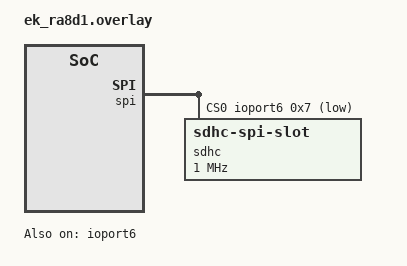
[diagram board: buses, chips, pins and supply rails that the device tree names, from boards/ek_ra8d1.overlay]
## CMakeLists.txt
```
# SPDX-License-Identifier: Apache-2.0

cmake_minimum_required(VERSION 3.28.0)
find_package(Zephyr REQUIRED HINTS $ENV{ZEPHYR_BASE})
project(sdhc_test)

file(GLOB app_sources src/*.c)
target_sources(app PRIVATE ${app_sources})
```

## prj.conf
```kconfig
CONFIG_TEST=y
CONFIG_ZTEST=y
CONFIG_SDHC=y
```

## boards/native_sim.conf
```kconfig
# Copyright (c) 2026 Alif Semiconductor
# SPDX-License-Identifier: Apache-2.0

CONFIG_SDHC_EMUL=y
```

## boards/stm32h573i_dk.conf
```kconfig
# Copyright (c) 2026 EXALT Technologies
# SPDX-License-Identifier: Apache-2.0

CONFIG_SDMMC_STM32=n
```

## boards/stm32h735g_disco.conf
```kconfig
# Copyright (c) 2026 EXALT Technologies
# SPDX-License-Identifier: Apache-2.0

CONFIG_SDMMC_STM32=n
CONFIG_HEAP_MEM_POOL_SIZE=2048
```

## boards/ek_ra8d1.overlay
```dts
/*
 * Copyright (c) 2025 Renesas Electronics Corporation
 * SPDX-License-Identifier: Apache-2.0
 */

/ {
	aliases {
		sdhc0 = &sdhc;
	};
};

&pinctrl {
	/* Set SW1-1 (PMOD1) to low and SW1-7 (SDRAM) to high */
	sci0_spi_default: sci0_spi_default {
		group1 {
			/* MISO MOSI SCK */
			psels = <RA_PSEL(RA_PSEL_SCI_0, 6, 10)>,
				<RA_PSEL(RA_PSEL_SCI_0, 6, 9)>,
				<RA_PSEL(RA_PSEL_SCI_0, 6, 11)>;
			drive-strength = "high";
		};
	};
};

&ioport6 {
	status = "okay";
};

&sci0 {
	pinctrl-0 = <&sci0_spi_default>;
	pinctrl-names = "default";

	spi {
		cs-gpios = <&ioport6 0x7 GPIO_ACTIVE_LOW>;
		status = "okay";

		sdhc: sdhc@0 {
			compatible = "zephyr,sdhc-spi-slot";
			reg = <0>;
			status = "okay";
			mmc {
				compatible = "zephyr,sdmmc-disk";
				disk-name = "SD";
				status = "okay";
			};
			spi-max-frequency = <1000000>;
		};
	};

	uart {
		status = "disabled";
	};

	i2c {
		status = "disabled";
	};
};
```

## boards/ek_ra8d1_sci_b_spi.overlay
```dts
/*
 * Copyright (c) 2025 Renesas Electronics Corporation
 * SPDX-License-Identifier: Apache-2.0
 */

/ {
	aliases {
		sdhc0 = &sdcard;
	};
};

&pinctrl {
	/* Set SW1-1 (PMOD1) to low and SW1-7 (SDRAM) to high */
	sci0_spi_default: sci0_spi_default {
		group1 {
			/* MISO MOSI SCK */
			psels = <RA_PSEL(RA_PSEL_SCI_0, 6, 10)>,
				<RA_PSEL(RA_PSEL_SCI_0, 6, 9)>,
				<RA_PSEL(RA_PSEL_SCI_0, 6, 11)>;
			drive-strength = "high";
		};
	};
};

&ioport6 {
	status = "okay";
};

&sci0 {
	pinctrl-0 = <&sci0_spi_default>;
	pinctrl-names = "default";

	spi {
		cs-gpios = <&ioport6 0x7 GPIO_ACTIVE_LOW>;
		status = "okay";

		sdcard: sdcard@0 {
			compatible = "zephyr,sdhc-spi-slot";
			reg = <0>;
			spi-max-frequency = <1000000>;
			status = "okay";

			sdmmc {
				compatible = "zephyr,sdmmc-disk";
				disk-name = "SD";
				status = "okay";
			};
		};
	};

	uart {
		status = "disabled";
	};

	i2c {
		status = "disabled";
	};
};
```

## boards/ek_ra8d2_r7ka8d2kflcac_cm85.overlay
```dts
/*
 * Copyright (c) 2025 Renesas Electronics Corporation
 * SPDX-License-Identifier: Apache-2.0
 */

/ {
	aliases {
		sdhc0 = &sdhc1;
	};
};

&pinctrl {
	sdhc1_default: sdhc1_default {
		group1 {
			psels = <RA_PSEL(RA_PSEL_SDHI, 4, 6)>, /* SDCD */
				<RA_PSEL(RA_PSEL_SDHI, 4, 1)>, /* SDCMD */
				<RA_PSEL(RA_PSEL_SDHI, 4, 2)>, /* SDDATA0 */
				<RA_PSEL(RA_PSEL_SDHI, 4, 3)>, /* SDDATA1 */
				<RA_PSEL(RA_PSEL_SDHI, 4, 4)>, /* SDDATA2 */
				<RA_PSEL(RA_PSEL_SDHI, 4, 5)>, /* SDDATA3 */
				<RA_PSEL(RA_PSEL_SDHI, 7, 0)>; /* SDWP */
			drive-strength = "high";
		};

		group2 {
			psels = <RA_PSEL(RA_PSEL_SDHI, 4, 0)>; /* SDCLK */
			drive-strength = "highspeed-high";
		};
	};
};

&sdhc1 {
	pinctrl-0 = <&sdhc1_default>;
	pinctrl-names = "default";
	interrupt-names = "accs", "card", "dma-req";
	interrupts = <95 1>, <94 1>, <93 1>;
	status = "okay";

	sdmmc {
		compatible = "zephyr,sdmmc-disk";
		disk-name = "SD";
		status = "okay";
	};
};
```

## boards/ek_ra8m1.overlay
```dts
/*
 * Copyright (c) 2025 Renesas Electronics Corporation
 * SPDX-License-Identifier: Apache-2.0
 */

/ {
	aliases {
		sdhc0 = &sdhc;
	};
};

&pinctrl {
	sci3_spi_default: sci3_spi_default {
		group1 {
			/* MISO MOSI SCK */
			psels = <RA_PSEL(RA_PSEL_SCI_3, 9, 1)>,
				<RA_PSEL(RA_PSEL_SCI_3, 9, 0)>,
				<RA_PSEL(RA_PSEL_SCI_3, 3, 15)>;
			drive-strength = "high";
		};
	};
};

&ioport7 {
	status = "okay";
};

&sci3 {
	pinctrl-0 = <&sci3_spi_default>;
	pinctrl-names = "default";

	spi {
		cs-gpios = <&ioport7 13 GPIO_ACTIVE_LOW>;
		status = "okay";

		sdhc: sdhc@0 {
			compatible = "zephyr,sdhc-spi-slot";
			reg = <0>;
			status = "okay";
			mmc {
				compatible = "zephyr,sdmmc-disk";
				disk-name = "SD";
				status = "okay";
			};
			spi-max-frequency = <1000000>;
		};
	};

	uart {
		status = "disabled";
	};

	i2c {
		status = "disabled";
	};
};
```

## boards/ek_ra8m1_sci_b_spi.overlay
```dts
/*
 * Copyright (c) 2025 Renesas Electronics Corporation
 * SPDX-License-Identifier: Apache-2.0
 */

/ {
	aliases {
		sdhc0 = &sdcard;
	};
};

&pinctrl {
	sci3_spi_default: sci3_spi_default {
		group1 {
			/* MISO MOSI SCK */
			psels = <RA_PSEL(RA_PSEL_SCI_3, 9, 1)>,
				<RA_PSEL(RA_PSEL_SCI_3, 9, 0)>,
				<RA_PSEL(RA_PSEL_SCI_3, 3, 15)>;
			drive-strength = "high";
		};
	};
};

&ioport7 {
	status = "okay";
};

&sci3 {
	pinctrl-0 = <&sci3_spi_default>;
	pinctrl-names = "default";

	spi {
		cs-gpios = <&ioport7 13 GPIO_ACTIVE_LOW>;
		status = "okay";

		sdcard: sdcard@0 {
			compatible = "zephyr,sdhc-spi-slot";
			reg = <0>;
			spi-max-frequency = <1000000>;
			status = "okay";

			sdmmc {
				compatible = "zephyr,sdmmc-disk";
				disk-name = "SD";
				status = "okay";
			};
		};
	};

	uart {
		status = "disabled";
	};

	i2c {
		status = "disabled";
	};
};
```

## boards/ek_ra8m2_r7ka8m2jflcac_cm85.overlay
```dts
/*
 * Copyright (c) 2025 Renesas Electronics Corporation
 * SPDX-License-Identifier: Apache-2.0
 */

/ {
	aliases {
		sdhc0 = &sdhc1;
	};
};

&pinctrl {
	sdhc1_default: sdhc1_default {
		group1 {
			psels = <RA_PSEL(RA_PSEL_SDHI, 2, 5)>, /* SDCD */
				<RA_PSEL(RA_PSEL_SDHI, 2, 2)>, /* SDCMD */
				<RA_PSEL(RA_PSEL_SDHI, 3, 13)>, /* SDDATA0 */
				<RA_PSEL(RA_PSEL_SDHI, 3, 14)>, /* SDDATA1 */
				<RA_PSEL(RA_PSEL_SDHI, 4, 4)>, /* SDDATA2 */
				<RA_PSEL(RA_PSEL_SDHI, 8, 11)>, /* SDDATA3 */
				<RA_PSEL(RA_PSEL_SDHI, 2, 4)>; /* SDWP */
			drive-strength = "high";
		};

		group2 {
			psels = <RA_PSEL(RA_PSEL_SDHI, 2, 3)>; /* SDCLK */
			drive-strength = "highspeed-high";
		};
	};
};

&sdhc1 {
	pinctrl-0 = <&sdhc1_default>;
	pinctrl-names = "default";
	interrupt-names = "accs", "card", "dma-req", "sdio-int";
	interrupts = <95 1>, <94 1>, <93 1>, <92 1>;
	status = "okay";

	sdmmc {
		compatible = "zephyr,sdmmc-disk";
		disk-name = "SD";
		status = "okay";
	};
};
```

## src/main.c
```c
/*
 * Copyright 2022 NXP
 *
 * SPDX-License-Identifier: Apache-2.0
 */

#include <zephyr/kernel.h>
#include <zephyr/drivers/sdhc.h>
#include <zephyr/device.h>
#include <zephyr/ztest.h>

static const struct device *const sdhc_dev = DEVICE_DT_GET(DT_ALIAS(sdhc0));
static struct sdhc_host_props props;
static struct sdhc_io io;

#define SDHC_FREQUENCY_SLIP 10000000

#define SDHC_EMMC_RCA 0x2U

K_SEM_DEFINE(card_sem, 0, 1);

/* Prepare IO settings for card */
static void *sdhc_power_on(void)
{
	int ret;

	ret = sdhc_get_host_props(sdhc_dev, &props);
	zassert_equal(ret, 0, "SDHC host props api call failed");

	io.clock = props.f_min;
	io.bus_mode = SDHC_BUSMODE_PUSHPULL;
	io.power_mode = SDHC_POWER_ON;
	io.bus_width = SDHC_BUS_WIDTH1BIT;
	io.timing = SDHC_TIMING_LEGACY;
	io.signal_voltage = SD_VOL_3_3_V;

	ret = sdhc_set_io(sdhc_dev, &io);
	zassert_equal(ret, 0, "Setting io configuration failed");
	k_msleep(props.power_delay);
	return NULL;
}

/* Resets SD host controller, verifies API */
ZTEST(sdhc, test_reset)
{
	int ret;

	zassert_true(device_is_ready(sdhc_dev), "SDHC device is not ready");

	ret = sdhc_hw_reset(sdhc_dev);
	zassert_equal(ret, 0, "SDHC HW reset failed");
}

/* Gets host properties, verifies all properties are set */
ZTEST(sdhc, test_host_props)
{
	int ret;

	zassert_true(device_is_ready(sdhc_dev), "SDHC device is not ready");

	/* Set all host properties to 0xFF */
	props.f_max = 0xFF;
	props.f_min = 0xFF;
	props.power_delay = 0xFF;
	props.max_current_330 = 0xFF;
	props.max_current_300 = 0xFF;
	props.max_current_180 = 0xFF;
	ret = sdhc_get_host_props(sdhc_dev, &props);
	zassert_equal(ret, 0, "SDHC host props api call failed");

	zassert_not_equal(props.f_max, 0xFF, "props structure not initialized");
	zassert_not_equal(props.f_min, 0xFF, "props structure not initialized");
	zassert_not_equal(props.power_delay, 0xFF, "props structure not initialized");
	zassert_not_equal(props.max_current_330, 0xFF, "props structure not initialized");
	zassert_not_equal(props.max_current_300, 0xFF, "props structure not initialized");
	zassert_not_equal(props.max_current_180, 0xFF, "props structure not initialized");
}

/* Verify that driver rejects frequencies outside of claimed range */
ZTEST(sdhc, test_set_io)
{
	int ret;

	zassert_true(device_is_ready(sdhc_dev), "SDHC device is not ready");

	io.clock = props.f_min;
	io.bus_mode = SDHC_BUSMODE_PUSHPULL;
	io.power_mode = SDHC_POWER_ON;
	io.bus_width = SDHC_BUS_WIDTH1BIT;
	io.timing = SDHC_TIMING_LEGACY;
	io.signal_voltage = SD_VOL_3_3_V;

	ret = sdhc_set_io(sdhc_dev, &io);
	zassert_equal(ret, 0, "IO configuration failed");

	/* Verify that IO configuration fails with high frequency */
	/* Since SDHC may select nearby frequency, increase frequency
	 * by a large margin over the max.
	 */
	io.clock = props.f_max + SDHC_FREQUENCY_SLIP;
	ret = sdhc_set_io(sdhc_dev, &io);
	zassert_not_equal(ret, 0, "Invalid io configuration should not succeed");

	/* Leave a valid IO config for later tests that reuse `io`. */
	io.clock = props.f_min;
	ret = sdhc_set_io(sdhc_dev, &io);
	zassert_equal(ret, 0, "Restoring valid IO configuration failed");

}

void sdhc_interrupt_cb(const struct device *dev, int source, const void *data)
{
	ARG_UNUSED(data);

	/* Check that the device pointer is correct */
	zassert_equal(dev, sdhc_dev, "Incorrect device pointer in interrupt callback");
	zassert_equal(source, SDHC_INT_INSERTED, "Got unexpected SDHC interrupt");
	k_sem_give(&card_sem);
}


/*
 * Verify that the driver can detect a present SD card
 */
ZTEST(sdhc, test_card_presence)
{
	int ret;

	zassert_true(device_is_ready(sdhc_dev), "SDHC device is not ready");

	ret = sdhc_card_present(sdhc_dev);
	if (ret == 0) {
		/* Card not in slot, test card insertion interrupt */
		TC_PRINT("Waiting for card to be present in slot\n");
		ret = sdhc_enable_interrupt(sdhc_dev, sdhc_interrupt_cb,
					SDHC_INT_INSERTED, NULL);
		zassert_equal(ret, 0, "Could not install card insertion interrupt");
		/* Wait for card insertion */
		ret = k_sem_take(&card_sem, K_FOREVER);
		/* Delay now that card is in slot */
		k_msleep(props.power_delay);
		zassert_equal(ret, 0, "Card insertion interrupt did not fire");
		ret = sdhc_card_present(sdhc_dev);
	}
	zassert_equal(ret, 1, "Card is not reported as present, is one connected?");
}

/* Verify that the driver can send commands to SD card, by reading interface
 * condition. This follows the first part of the SD initialization defined in
 * the SD specification.
 */
ZTEST(sdhc, test_card_if_cond)
{
	struct sdhc_command cmd;
	int ret, resp;
	int check_pattern = SD_IF_COND_CHECK;

	zassert_true(device_is_ready(sdhc_dev), "SDHC device is not ready");

	/* Toggle power to card, to clear state */
	io.power_mode = SDHC_POWER_OFF;
	ret = sdhc_set_io(sdhc_dev, &io);
	zassert_equal(ret, 0, "Setting io configuration failed");
	k_msleep(props.power_delay);
	io.power_mode = SDHC_POWER_ON;
	ret = sdhc_set_io(sdhc_dev, &io);
	zassert_equal(ret, 0, "Setting io configuration failed");
	k_msleep(props.power_delay);


	memset(&cmd, 0, sizeof(struct sdhc_command));
	cmd.opcode = SD_GO_IDLE_STATE;
	cmd.response_type = (SD_RSP_TYPE_NONE | SD_SPI_RSP_TYPE_R1);
	cmd.timeout_ms = 200;

	ret = sdhc_request(sdhc_dev, &cmd, NULL);
	zassert_equal(ret, 0, "Card reset command failed");

	cmd.opcode = SD_SEND_IF_COND;
	/* Indicate 3.3V support, plus check pattern */
	cmd.arg = SD_IF_COND_VHS_3V3 | check_pattern;
	cmd.response_type = (SD_RSP_TYPE_R7 | SD_SPI_RSP_TYPE_R7);
	cmd.timeout_ms = 500;
	cmd.retries = 3;

	ret = sdhc_request(sdhc_dev, &cmd, NULL);
	zassert_equal(ret, 0, "Read Interface condition failed");
	if (props.is_spi) {
		resp = cmd.response[1];
	} else {
		resp = cmd.response[0];
	}
	if ((resp & 0xFF) == check_pattern) {
		/* Although both responses are valid in SD spec, most
		 * modern cards are SDHC or better, and should respond as such.
		 */
		TC_PRINT("Found SDHC/SDXC card\n");
	} else if (resp & 0x4) {
		/* An illegal command response indicates an SDSC card */
		TC_PRINT("Found SDSC card\n");
	} else {
		zassert_unreachable("Invalid response to SD interface condition");
	}
}

/* CMD8 with no voltage window must time out. A valid 3.3V CMD8 is test_card_if_cond. */
ZTEST(sdhc, test_wrong_voltage_cmd8)
{
	struct sdhc_command cmd = {0};
	int ret;
	uint32_t resp;

	zassert_true(device_is_ready(sdhc_dev), "SDHC device is not ready");
	if (props.is_spi) {
		ztest_test_skip();
	}

	io.power_mode = SDHC_POWER_OFF;
	ret = sdhc_set_io(sdhc_dev, &io);
	zassert_equal(ret, 0, "Setting io configuration failed");
	k_msleep(props.power_delay);
	io.power_mode = SDHC_POWER_ON;
	ret = sdhc_set_io(sdhc_dev, &io);
	zassert_equal(ret, 0, "Setting io configuration failed");
	k_msleep(props.power_delay);

	cmd.opcode = SD_GO_IDLE_STATE;
	cmd.response_type = SD_RSP_TYPE_NONE;
	cmd.timeout_ms = 200;
	ret = sdhc_request(sdhc_dev, &cmd, NULL);
	zassert_equal(ret, 0, "Card reset command failed");

	/* Prove this is SD CMD8 (IF_COND), not eMMC EXT_CSD. */
	memset(&cmd, 0, sizeof(cmd));
	cmd.opcode = SD_SEND_IF_COND;
	cmd.arg = SD_IF_COND_VHS_3V3 | SD_IF_COND_CHECK;
	cmd.response_type = SD_RSP_TYPE_R7;
	cmd.timeout_ms = 200;
	cmd.retries = 0;
	ret = sdhc_request(sdhc_dev, &cmd, NULL);
	if (ret != 0) {
		ztest_test_skip(); /* no card, legacy SDSC, or not SD IF_COND */
	}
	resp = cmd.response[0];
	if ((resp & 0xFF) != SD_IF_COND_CHECK) {
		ztest_test_skip(); /* eMMC / non-SD response to opcode 8 */
	}

	/* Unsupported VHS: card stays silent. */
	memset(&cmd, 0, sizeof(cmd));
	cmd.opcode = SD_SEND_IF_COND;
	cmd.arg = 0;
	cmd.response_type = SD_RSP_TYPE_R7;
	cmd.timeout_ms = 200;
	cmd.retries = 0;
	ret = sdhc_request(sdhc_dev, &cmd, NULL);
	zassert_not_equal(ret, 0, "CMD8 with VHS 0 must time out");
}

static int sdhc_send(const struct device *dev, uint32_t opcode, uint32_t arg,
		     uint32_t response_type, struct sdhc_data *data)
{
	struct sdhc_command cmd = {0};
	int ret;

	cmd.opcode = opcode;
	cmd.arg = arg;
	cmd.response_type = response_type;
	cmd.timeout_ms = 500;
	cmd.retries = 3;

	ret = sdhc_request(dev, &cmd, data);
	if (ret == 0 && data == NULL) {
		return (int)cmd.response[0];
	}
	return ret;
}

/*
 * eMMC reliable write: CMD23 bit 31, then CMD25. The MMC stack never sends
 * CMD23, so this stays an SDHC command test. SD cards do not implement it.
 */
ZTEST(sdhc, test_reliable_write)
{
	static uint8_t wbuf[512] __aligned(CONFIG_SDHC_BUFFER_ALIGNMENT);
	static uint8_t rbuf[512] __aligned(CONFIG_SDHC_BUFFER_ALIGNMENT);
	struct sdhc_data data = {0};
	uint32_t ocr;
	int ret;

	zassert_true(device_is_ready(sdhc_dev), "SDHC device is not ready");
	if (props.is_spi) {
		ztest_test_skip();
	}

	io.power_mode = SDHC_POWER_OFF;
	ret = sdhc_set_io(sdhc_dev, &io);
	zassert_equal(ret, 0, "Setting io configuration failed");
	k_msleep(props.power_delay);
	io.power_mode = SDHC_POWER_ON;
	ret = sdhc_set_io(sdhc_dev, &io);
	zassert_equal(ret, 0, "Setting io configuration failed");
	k_msleep(props.power_delay);

	ret = sdhc_send(sdhc_dev, SD_GO_IDLE_STATE, 0, SD_RSP_TYPE_NONE, NULL);
	zassert_equal(ret, 0, "CMD0 failed");

	ocr = 0;
	for (int i = 0; i < 100; i++) {
		struct sdhc_command cmd = {0};

		cmd.opcode = MMC_SEND_OP_COND;
		cmd.arg = MMC_OCR_VDD27_36FLAG | MMC_OCR_SECTOR_MODE;
		cmd.response_type = SD_RSP_TYPE_R3;
		cmd.timeout_ms = 500;
		cmd.retries = 1;
		ret = sdhc_request(sdhc_dev, &cmd, NULL);
		if (ret != 0) {
			/* SD card: reliable write does not apply. */
			ztest_test_skip();
		}
		ocr = cmd.response[0];
		if (ocr & SD_OCR_PWR_BUSY_FLAG) {
			break;
		}
		k_msleep(10);
	}
	if ((ocr & SD_OCR_PWR_BUSY_FLAG) == 0) {
		ztest_test_skip();
	}

	ret = sdhc_send(sdhc_dev, SD_ALL_SEND_CID, 0, SD_RSP_TYPE_R2, NULL);
	zassert_ok(ret, "CMD2 failed");

	/* eMMC CMD3: the host assigns the RCA. The emulator does not check it. */
	ret = sdhc_send(sdhc_dev, MMC_SEND_RELATIVE_ADDR, SDHC_EMMC_RCA << 16,
			SD_RSP_TYPE_R1, NULL);
	zassert_ok(ret, "CMD3 failed");

	ret = sdhc_send(sdhc_dev, SD_SELECT_CARD, SDHC_EMMC_RCA << 16,
			SD_RSP_TYPE_R1b, NULL);
	zassert_ok(ret, "CMD7 failed");

	ret = sdhc_send(sdhc_dev, SD_SET_BLOCK_SIZE, 512, SD_RSP_TYPE_R1, NULL);
	zassert_ok(ret, "CMD16 failed");

	ret = sdhc_send(sdhc_dev, SD_SET_BLOCK_COUNT, BIT(31) | 1U,
			SD_RSP_TYPE_R1, NULL);
	zassert_ok(ret, "CMD23 failed");

	for (int i = 0; i < 512; i++) {
		wbuf[i] = (uint8_t)(i + 1);
	}
	data.block_addr = 0;
	data.block_size = 512;
	data.blocks = 1;
	data.data = wbuf;
	data.timeout_ms = 1000;
	ret = sdhc_send(sdhc_dev, SD_WRITE_MULTIPLE_BLOCK, 0, SD_RSP_TYPE_R1, &data);
	zassert_ok(ret, "CMD25 failed");
	zassert_equal(data.bytes_xfered, 512, "write bytes_xfered mismatch");

	memset(&data, 0, sizeof(data));
	memset(rbuf, 0, sizeof(rbuf));
	data.block_addr = 0;
	data.block_size = 512;
	data.blocks = 1;
	data.data = rbuf;
	data.timeout_ms = 1000;
	ret = sdhc_send(sdhc_dev, SD_READ_SINGLE_BLOCK, 0, SD_RSP_TYPE_R1, &data);
	zassert_ok(ret, "CMD17 failed");
	zassert_equal(data.bytes_xfered, 512, "read bytes_xfered mismatch");
	zassert_mem_equal(wbuf, rbuf, 512, "reliable write data mismatch");
}

/* CMD17 is legal only in the transfer state. CMD0 leaves the card idle. */
ZTEST(sdhc, test_illegal_state_cmd17_in_idle)
{
	static uint8_t buf[512] __aligned(CONFIG_SDHC_BUFFER_ALIGNMENT);
	struct sdhc_command cmd = {0};
	struct sdhc_data data = {0};
	int ret;

	zassert_true(device_is_ready(sdhc_dev), "SDHC device is not ready");

	cmd.opcode = SD_GO_IDLE_STATE;
	cmd.response_type = SD_RSP_TYPE_NONE;
	cmd.timeout_ms = 200;
	ret = sdhc_request(sdhc_dev, &cmd, NULL);
	zassert_equal(ret, 0, "Card reset command failed");

	cmd.opcode = SD_READ_SINGLE_BLOCK;
	cmd.arg = 0;
	cmd.response_type = SD_RSP_TYPE_R1;
	cmd.timeout_ms = 200;
	cmd.retries = 0;

	data.block_addr = 0;
	data.block_size = 512;
	data.blocks = 1;
	data.data = buf;
	data.timeout_ms = 200;

	ret = sdhc_request(sdhc_dev, &cmd, &data);
	zassert_not_equal(ret, 0, "CMD17 should fail in IDLE state");
}

/* eMMC CMD5: bit 15 sleeps, RCA is in bits [31:16]. SD cards skip at CMD1. */
ZTEST(sdhc, test_sleep_awake)
{
	static uint8_t buf[512] __aligned(CONFIG_SDHC_BUFFER_ALIGNMENT);
	struct sdhc_command cmd = {0};
	struct sdhc_data data = {0};
	uint32_t ocr = 0;
	int ret;
	int sleep_ret;
	int read_ret;
	int awake_ret;

	zassert_true(device_is_ready(sdhc_dev), "SDHC device is not ready");
	if (props.is_spi) {
		ztest_test_skip();
	}

	io.power_mode = SDHC_POWER_OFF;
	ret = sdhc_set_io(sdhc_dev, &io);
	zassert_equal(ret, 0, "Setting io configuration failed");
	k_msleep(props.power_delay);
	io.power_mode = SDHC_POWER_ON;
	ret = sdhc_set_io(sdhc_dev, &io);
	zassert_equal(ret, 0, "Setting io configuration failed");
	k_msleep(props.power_delay);

	cmd.opcode = SD_GO_IDLE_STATE;
	cmd.response_type = SD_RSP_TYPE_NONE;
	cmd.timeout_ms = 200;
	zassert_equal(sdhc_request(sdhc_dev, &cmd, NULL), 0, "CMD0 failed");

	for (int i = 0; i < 100; i++) {
		memset(&cmd, 0, sizeof(cmd));
		cmd.opcode = MMC_SEND_OP_COND;
		cmd.arg = MMC_OCR_VDD27_36FLAG | MMC_OCR_SECTOR_MODE;
		cmd.response_type = SD_RSP_TYPE_R3;
		cmd.timeout_ms = 500;
		cmd.retries = 1;
		ret = sdhc_request(sdhc_dev, &cmd, NULL);
		if (ret != 0) {
			ztest_test_skip();
		}
		ocr = cmd.response[0];
		if (ocr & SD_OCR_PWR_BUSY_FLAG) {
			break;
		}
		k_msleep(10);
	}
	if ((ocr & SD_OCR_PWR_BUSY_FLAG) == 0) {
		ztest_test_skip();
	}

	memset(&cmd, 0, sizeof(cmd));
	cmd.opcode = SD_ALL_SEND_CID;
	cmd.response_type = SD_RSP_TYPE_R2;
	cmd.timeout_ms = 500;
	zassert_equal(sdhc_request(sdhc_dev, &cmd, NULL), 0, "CMD2 failed");

	memset(&cmd, 0, sizeof(cmd));
	cmd.opcode = MMC_SEND_RELATIVE_ADDR;
	cmd.arg = SDHC_EMMC_RCA << 16;
	cmd.response_type = SD_RSP_TYPE_R1;
	cmd.timeout_ms = 500;
	zassert_equal(sdhc_request(sdhc_dev, &cmd, NULL), 0, "CMD3 failed");

	memset(&cmd, 0, sizeof(cmd));
	cmd.opcode = MMC_SLEEP_AWAKE;
	cmd.arg = (SDHC_EMMC_RCA << 16) | BIT(15);
	cmd.response_type = SD_RSP_TYPE_R1b;
	cmd.timeout_ms = 1000;
	sleep_ret = sdhc_request(sdhc_dev, &cmd, NULL);

	memset(&cmd, 0, sizeof(cmd));
	cmd.opcode = SD_READ_SINGLE_BLOCK;
	cmd.response_type = SD_RSP_TYPE_R1;
	cmd.timeout_ms = 200;
	data.block_size = 512;
	data.blocks = 1;
	data.data = buf;
	data.timeout_ms = 200;
	read_ret = sdhc_request(sdhc_dev, &cmd, &data);

	memset(&cmd, 0, sizeof(cmd));
	cmd.opcode = MMC_SLEEP_AWAKE;
	cmd.arg = SDHC_EMMC_RCA << 16;
	cmd.response_type = SD_RSP_TYPE_R1b;
	cmd.timeout_ms = 1000;
	awake_ret = sdhc_request(sdhc_dev, &cmd, NULL);

	memset(&cmd, 0, sizeof(cmd));
	cmd.opcode = SD_GO_IDLE_STATE;
	cmd.response_type = SD_RSP_TYPE_NONE;
	cmd.timeout_ms = 200;
	sdhc_request(sdhc_dev, &cmd, NULL);

	zassert_equal(sleep_ret, 0, "CMD5 SLEEP failed");
	zassert_not_equal(read_ret, 0, "CMD17 succeeded while the card was asleep");
	zassert_equal(awake_ret, 0, "CMD5 AWAKE failed");
}

ZTEST_SUITE(sdhc, NULL, sdhc_power_on, NULL, NULL, NULL);
```
